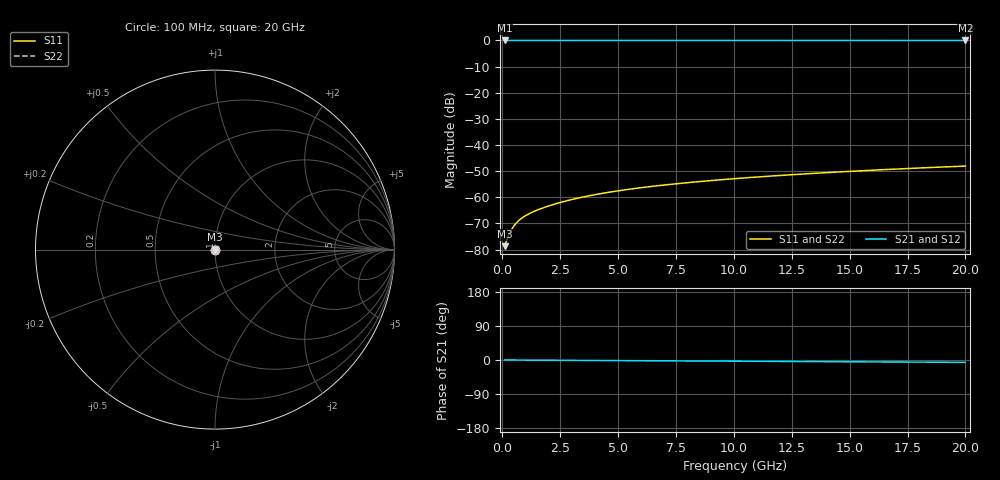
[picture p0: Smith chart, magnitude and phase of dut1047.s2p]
! Touchstone file exported from HFSS 2026.1.0
!  File:  C:/ffzhzh/LocalFiles/Ansys_Project_Files/temp_train_TSV_1047_1783189440_51560.aedt
!  Generated:  02:25:20 AM Jul  5, 2026
!  Design:  TSV
!  Project:  temp_train_TSV_1047_1783189440_51560
! Variables:
!  h_bsmrdl = 2um
!  h_ox = 20um
!  h_rdl = 5um
!  h_sub = 59.94um
!  h_tmrdl = 5um
!  h_tsv = 59.94um
!  h_via = 3um
!  l_bsmrdl = 300um
!  l_sub = 420.12um
!  l_tmrdl = 200um
!  m_sub = 200um
!  pitch = 41.75um
!  r_tsv = 10.06um
!  s_tmrdl = 10um
!  w_bsmrdl = 18um
!  w_sub = 500um
!  w_tmrdl = 12um
!  x_tsv_center1 = 206um
!  x_tsv_center2 = 524um
!  x_tsv_center3 = 736um
!  x_tsv_center4 = 1054um
!  x_tsv_center5 = 1266um
!  x_tsv_center6 = 1584um
# GHz S MA R 50.000000
! Terminal data exported
! Port[1] = TSV1_1_T1
! Port[2] = TSV1_1_T2
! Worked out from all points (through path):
!   200 points, 100 MHz to 20 GHz, reference 50 ohm
!   highest |S21| = 0.00 dB at 100 MHz (marker M1); lowest = 0.0 dB at 20 GHz (marker M2)
!   lowest |S11| = -78.7 dB at 100 MHz (marker M3), VSWR 1.00, Z = 50 + j0.00534 ohm
!   |S11| at or under -10 dB: start of sweep to end of sweep
!   |S22| runs from -78.7 to -48.1 dB; largest |S21 - S12| = 3.6e-15
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0.1  0.000116 27.4  0.9999 -0.0  0.9999 -0.0  0.000116 27.4
! Gamma 0 0 0 0
! Port Impedance 50 0 50 0
0.2  0.0001538 42.8  0.9999 -0.1  0.9999 -0.1  0.0001538 42.8
0.3  0.000198 49.8  0.9999 -0.1  0.9999 -0.1  0.000198 49.8
0.4  0.0002419 53.0  0.9999 -0.1  0.9999 -0.1  0.0002419 53.0
0.5  0.000283 54.5  0.9998 -0.2  0.9998 -0.2  0.000283 54.5
0.6  0.0003207 55.2  0.9998 -0.2  0.9998 -0.2  0.0003207 55.2
0.7  0.0003552 55.6  0.9998 -0.2  0.9998 -0.2  0.0003552 55.6
0.8  0.0003869 55.8  0.9998 -0.3  0.9998 -0.3  0.0003869 55.8
1  0.000444 56.4  0.9998 -0.3  0.9998 -0.3  0.000444 56.4
1.4  0.0005438 57.8  0.9997 -0.4  0.9997 -0.4  0.0005437 57.8
2  0.0006816 60.3  0.9997 -0.6  0.9997 -0.6  0.0006816 60.3
2.7  0.0008385 62.6  0.9996 -0.9  0.9996 -0.9  0.0008385 62.6
3.5  0.001014 64.2  0.9996 -1.1  0.9996 -1.1  0.001014 64.2
4.2  0.001163 65.2  0.9995 -1.3  0.9995 -1.3  0.001163 65.2
5  0.001328 66.0  0.9995 -1.6  0.9995 -1.6  0.001328 66.0
5.9  0.001507 66.6  0.9994 -1.9  0.9994 -1.9  0.001507 66.6
6.8  0.001679 67.0  0.9994 -2.1  0.9994 -2.1  0.001679 67.0
8.3  0.001958 67.7  0.9993 -2.6  0.9993 -2.6  0.001958 67.7
10.1  0.002281 68.2  0.9993 -3.2  0.9993 -3.2  0.002281 68.2
13.4  0.002858 68.8  0.9992 -4.2  0.9992 -4.2  0.002858 68.8
16.7  0.003416 68.9  0.9991 -5.2  0.9991 -5.2  0.003416 68.9
20  0.003952 68.7  0.999 -6.2  0.999 -6.2  0.003953 68.7
